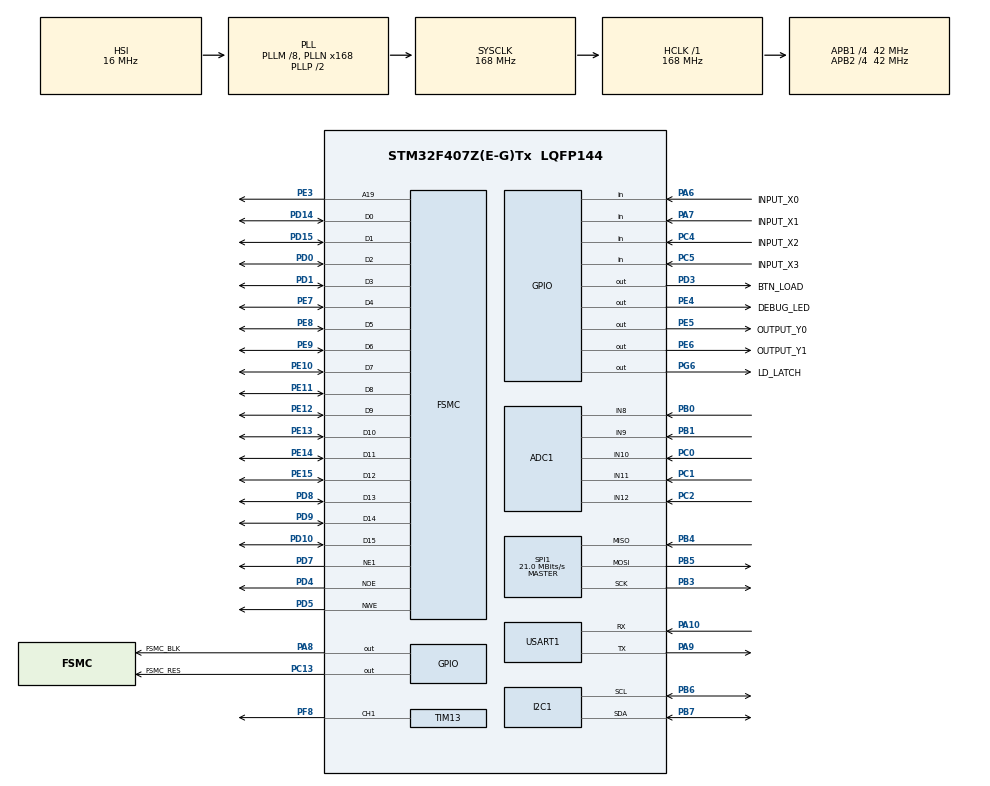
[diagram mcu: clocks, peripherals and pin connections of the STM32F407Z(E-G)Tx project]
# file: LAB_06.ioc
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ADC1.Channel-0\#ChannelRegularConversion=ADC_CHANNEL_8
ADC1.Channel-1\#ChannelRegularConversion=ADC_CHANNEL_9
ADC1.Channel-2\#ChannelRegularConversion=ADC_CHANNEL_10
ADC1.Channel-3\#ChannelRegularConversion=ADC_CHANNEL_11
ADC1.Channel-4\#ChannelRegularConversion=ADC_CHANNEL_12
ADC1.NbrOfConversion=5
ADC1.NbrOfConversionFlag=1
ADC1.Rank-0\#ChannelRegularConversion=1
ADC1.Rank-1\#ChannelRegularConversion=2
ADC1.Rank-2\#ChannelRegularConversion=3
ADC1.Rank-3\#ChannelRegularConversion=4
ADC1.Rank-4\#ChannelRegularConversion=5
ADC1.SamplingTime-0\#ChannelRegularConversion=ADC_SAMPLETIME_3CYCLES
ADC1.SamplingTime-1\#ChannelRegularConversion=ADC_SAMPLETIME_3CYCLES
ADC1.SamplingTime-2\#ChannelRegularConversion=ADC_SAMPLETIME_3CYCLES
ADC1.SamplingTime-3\#ChannelRegularConversion=ADC_SAMPLETIME_3CYCLES
ADC1.SamplingTime-4\#ChannelRegularConversion=ADC_SAMPLETIME_3CYCLES
ADC1.ScanConvMode=ENABLE
ADC1.master=1
Dma.ADC1.0.Direction=DMA_PERIPH_TO_MEMORY
Dma.ADC1.0.FIFOMode=DMA_FIFOMODE_DISABLE
Dma.ADC1.0.Instance=DMA2_Stream0
Dma.ADC1.0.MemDataAlignment=DMA_MDATAALIGN_HALFWORD
Dma.ADC1.0.MemInc=DMA_MINC_ENABLE
Dma.ADC1.0.Mode=DMA_CIRCULAR
Dma.ADC1.0.PeriphDataAlignment=DMA_PDATAALIGN_HALFWORD
Dma.ADC1.0.PeriphInc=DMA_PINC_DISABLE
Dma.ADC1.0.Priority=DMA_PRIORITY_LOW
Dma.Request0=ADC1
FSMC.AddressSetupTime1=0xf
FSMC.BusTurnAroundDuration1=0
FSMC.DataSetupTime1=60
FSMC.ExtendedAddressSetupTime1=8
FSMC.ExtendedBusTurnAroundDuration1=0
FSMC.ExtendedDataSetupTime1=9
FSMC.ExtendedMode1=FSMC_EXTENDED_MODE_ENABLE
Mcu.Family=STM32F4
Mcu.Name=STM32F407Z(E-G)Tx
Mcu.Package=LQFP144
NVIC.DMA2_Stream0_IRQn=true\:0\:0\:false\:false\:true\:false\:true
NVIC.PriorityGroup=NVIC_PRIORITYGROUP_4
NVIC.TIM2_IRQn=true\:0\:0\:false\:false\:true\:true\:true
NVIC.USART1_IRQn=true\:0\:0\:false\:false\:true\:true\:true
PA10.Mode=Asynchronous
PA10.Signal=USART1_RX
PA13.Mode=Serial_Wire
PA13.Signal=SYS_JTMS-SWDIO
PA14.Mode=Serial_Wire
PA14.Signal=SYS_JTCK-SWCLK
PA6.GPIO_Label=INPUT_X0
PA6.Signal=GPIO_Input
PA7.GPIO_Label=INPUT_X1
PA7.Signal=GPIO_Input
PA8.GPIO_Label=FSMC_BLK
PA8.Signal=GPIO_Output
PA9.Mode=Asynchronous
PA9.Signal=USART1_TX
PB0.Signal=ADCx_IN8
PB1.Signal=ADCx_IN9
PB3.Mode=Full_Duplex_Master
PB3.Signal=SPI1_SCK
PB4.Mode=Full_Duplex_Master
PB4.Signal=SPI1_MISO
PB5.Mode=Full_Duplex_Master
PB5.Signal=SPI1_MOSI
PB6.Mode=I2C
PB6.Signal=I2C1_SCL
PB7.Mode=I2C
PB7.Signal=I2C1_SDA
PC0.Signal=ADCx_IN10
PC1.Signal=ADCx_IN11
PC13-ANTI_TAMP.GPIO_Label=FSMC_RES
PC13-ANTI_TAMP.Signal=GPIO_Output
PC2.Signal=ADCx_IN12
PC4.GPIO_Label=INPUT_X2
PC4.Signal=GPIO_Input
PC5.GPIO_Label=INPUT_X3
PC5.Signal=GPIO_Input
PD0.Signal=FSMC_D2_DA2
PD1.Signal=FSMC_D3_DA3
PD10.Signal=FSMC_D15_DA15
PD14.Signal=FSMC_D0_DA0
PD15.Signal=FSMC_D1_DA1
PD3.GPIO_Label=BTN_LOAD
PD3.Signal=GPIO_Output
PD4.Signal=FSMC_NOE
PD5.Signal=FSMC_NWE
PD7.Mode=NorPsramChipSelect1_1
PD7.Signal=FSMC_NE1
PD8.Signal=FSMC_D13_DA13
PD9.Signal=FSMC_D14_DA14
PE10.Signal=FSMC_D7_DA7
PE11.Signal=FSMC_D8_DA8
PE12.Signal=FSMC_D9_DA9
PE13.Signal=FSMC_D10_DA10
PE14.Signal=FSMC_D11_DA11
PE15.Signal=FSMC_D12_DA12
PE3.Signal=FSMC_A19
PE4.GPIO_Label=DEBUG_LED
PE4.Signal=GPIO_Output
PE5.GPIO_Label=OUTPUT_Y0
PE5.Signal=GPIO_Output
PE6.GPIO_Label=OUTPUT_Y1
PE6.Signal=GPIO_Output
PE7.Signal=FSMC_D4_DA4
PE8.Signal=FSMC_D5_DA5
PE9.Signal=FSMC_D6_DA6
PF8.Signal=S_TIM13_CH1
PG6.GPIO_Label=LD_LATCH
PG6.Signal=GPIO_Output
PH0-OSC_IN.Mode=HSE-External-Oscillator
PH0-OSC_IN.Signal=RCC_OSC_IN
PH1-OSC_OUT.Mode=HSE-External-Oscillator
PH1-OSC_OUT.Signal=RCC_OSC_OUT
ProjectManager.HeapSize=0x200
ProjectManager.StackSize=0x400
ProjectManager.TargetToolchain=STM32CubeIDE
RCC.48MHZClocksFreq_Value=84000000
RCC.AHBFreq_Value=168000000
RCC.APB1CLKDivider=RCC_HCLK_DIV4
RCC.APB1Freq_Value=42000000
RCC.APB1TimFreq_Value=84000000
RCC.APB2CLKDivider=RCC_HCLK_DIV4
RCC.APB2Freq_Value=42000000
RCC.APB2TimFreq_Value=84000000
RCC.CortexFreq_Value=168000000
RCC.HCLKFreq_Value=168000000
RCC.HSE_VALUE=8000000
RCC.HSI_VALUE=16000000
RCC.LSE_VALUE=32768
RCC.PLLM=8
RCC.PLLN=168
RCC.SYSCLKFreq_VALUE=168000000
RCC.SYSCLKSource=RCC_SYSCLKSOURCE_PLLCLK
RCC.VCOOutputFreq_Value=336000000
SH.ADCx_IN10.0=ADC1_IN10,IN10
SH.ADCx_IN11.0=ADC1_IN11,IN11
SH.ADCx_IN12.0=ADC1_IN12,IN12
SH.ADCx_IN8.0=ADC1_IN8,IN8
SH.ADCx_IN9.0=ADC1_IN9,IN9
SH.FSMC_A19.0=FSMC_A19,A19_1
SH.FSMC_D0_DA0.0=FSMC_D0,16b-d1
SH.FSMC_D10_DA10.0=FSMC_D10,16b-d1
SH.FSMC_D11_DA11.0=FSMC_D11,16b-d1
SH.FSMC_D12_DA12.0=FSMC_D12,16b-d1
SH.FSMC_D13_DA13.0=FSMC_D13,16b-d1
SH.FSMC_D14_DA14.0=FSMC_D14,16b-d1
SH.FSMC_D15_DA15.0=FSMC_D15,16b-d1
SH.FSMC_D1_DA1.0=FSMC_D1,16b-d1
SH.FSMC_D2_DA2.0=FSMC_D2,16b-d1
SH.FSMC_D3_DA3.0=FSMC_D3,16b-d1
SH.FSMC_D4_DA4.0=FSMC_D4,16b-d1
SH.FSMC_D5_DA5.0=FSMC_D5,16b-d1
SH.FSMC_D6_DA6.0=FSMC_D6,16b-d1
SH.FSMC_D7_DA7.0=FSMC_D7,16b-d1
SH.FSMC_D8_DA8.0=FSMC_D8,16b-d1
SH.FSMC_D9_DA9.0=FSMC_D9,16b-d1
SH.FSMC_NOE.0=FSMC_NOE,Lcd1
SH.FSMC_NWE.0=FSMC_NWE,Lcd1
SH.S_TIM13_CH1.0=TIM13_CH1,PWM Generation1 CH1
SPI1.CalculateBaudRate=21.0 MBits/s
SPI1.Direction=SPI_DIRECTION_2LINES
SPI1.Mode=SPI_MODE_MASTER
SPI1.VirtualType=VM_MASTER
TIM13.Channel=TIM_CHANNEL_1
TIM13.Period=100-1
TIM13.Prescaler=840-1
TIM2.Period=100-1
TIM2.Prescaler=840-1
USART1.VirtualMode=VM_ASYNC
VP_TIM13_VS_ClockSourceINT.Mode=Enable_Timer
VP_TIM2_VS_ClockSourceINT.Mode=Internal
board=custom

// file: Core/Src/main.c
/* USER CODE BEGIN Header */
/**
  ******************************************************************************
  * @file           : main.c
  * @brief          : Main program body
  ******************************************************************************
  * @attention
  *
  * <h2><center>&copy; Copyright (c) 2025 STMicroelectronics.
  * All rights reserved.</center></h2>
  *
  * This software component is licensed by ST under BSD 3-Clause license,
  * the "License"; You may not use this file except in compliance with the
  * License. You may obtain a copy of the License at:
  *                        opensource.org/licenses/BSD-3-Clause
  *
  ******************************************************************************
  */
/* USER CODE END Header */
#include "main.h"

/* USER CODE BEGIN Includes */
#include "software_timer.h"
#include "led_7seg.h"
#include "button.h"
#include "lcd.h"
#include "picture.h"
#include "ds3231.h"
#include "sensor.h"
#include "buzzer.h"
#include "uart.h"
/* USER CODE END Includes */

/* USER CODE BEGIN PD */
#define MAX_SAMPLES 20
#define CHART_X 10
#define CHART_Y 150
#define CHART_WIDTH 220
#define CHART_HEIGHT 130
/* USER CODE END PD */

ADC_HandleTypeDef hadc1;
DMA_HandleTypeDef hdma_adc1;

I2C_HandleTypeDef hi2c1;

SPI_HandleTypeDef hspi1;

TIM_HandleTypeDef htim2;
TIM_HandleTypeDef htim13;

UART_HandleTypeDef huart1;

SRAM_HandleTypeDef hsram1;

void SystemClock_Config(void);
static void MX_GPIO_Init(void);
static void MX_SPI1_Init(void);
static void MX_TIM2_Init(void);
static void MX_FSMC_Init(void);
static void MX_DMA_Init(void);
static void MX_ADC1_Init(void);
static void MX_I2C1_Init(void);
static void MX_TIM13_Init(void);
static void MX_USART1_UART_Init(void);
/* USER CODE BEGIN PFP */
void system_init();
void test_LedDebug();
void test_Buzzer();
void test_Adc();
void displayTimeOn7Seg();
void drawPowerChart();
/* USER CODE END PFP */

int main(void)
{

  /* MCU Configuration--------------------------------------------------------*/

  /* Reset of all peripherals, Initializes the Flash interface and the Systick. */
  HAL_Init();

  /* Configure the system clock */
  SystemClock_Config();

  /* Initialize all configured peripherals */
  MX_GPIO_Init();
  MX_SPI1_Init();
  MX_TIM2_Init();
  MX_FSMC_Init();
  MX_DMA_Init();
  MX_ADC1_Init();
  MX_I2C1_Init();
  MX_TIM13_Init();
  MX_USART1_UART_Init();
  /* USER CODE BEGIN 2 */
  system_init();
  /* USER CODE END 2 */

  /* Infinite loop */
  /* USER CODE BEGIN WHILE */
  lcd_Clear(BLACK);
  lcd_ShowStr(60, 10, "Environment Monitor", WHITE, BLACK, 16, 0);
  while (1)
  {
	  while(!flag_timer2);
	  flag_timer2 = 0;
	  button_Scan();
	  led7_Scan();
	  test_LedDebug();

	  // ===== Bai tap 1: Environmental Monitoring =====
	  displayTimeOn7Seg();
	  test_Adc();
	  test_Buzzer();

	  // ===== Bai tap 2: Power Chart (15s sampling) =====
	  drawPowerChart();
    /* USER CODE END WHILE */

  }
}

void SystemClock_Config(void)
{
  RCC_OscInitTypeDef RCC_OscInitStruct = {0};
  RCC_ClkInitTypeDef RCC_ClkInitStruct = {0};

  /** Configure the main internal regulator output voltage
  */
  __HAL_RCC_PWR_CLK_ENABLE();
  __HAL_PWR_VOLTAGESCALING_CONFIG(PWR_REGULATOR_VOLTAGE_SCALE1);
  /** Initializes the RCC Oscillators according to the specified parameters
  * in the RCC_OscInitTypeDef structure.
  */
  RCC_OscInitStruct.OscillatorType = RCC_OSCILLATORTYPE_HSI;
  RCC_OscInitStruct.HSIState = RCC_HSI_ON;
  RCC_OscInitStruct.HSICalibrationValue = RCC_HSICALIBRATION_DEFAULT;
  RCC_OscInitStruct.PLL.PLLState = RCC_PLL_ON;
  RCC_OscInitStruct.PLL.PLLSource = RCC_PLLSOURCE_HSI;
  RCC_OscInitStruct.PLL.PLLM = 8;
  RCC_OscInitStruct.PLL.PLLN = 168;
  RCC_OscInitStruct.PLL.PLLP = RCC_PLLP_DIV2;
  RCC_OscInitStruct.PLL.PLLQ = 4;
  if (HAL_RCC_OscConfig(&RCC_OscInitStruct) != HAL_OK)
  {
    Error_Handler();
  }
  /** Initializes the CPU, AHB and APB buses clocks
  */
  RCC_ClkInitStruct.ClockType = RCC_CLOCKTYPE_HCLK|RCC_CLOCKTYPE_SYSCLK
                              |RCC_CLOCKTYPE_PCLK1|RCC_CLOCKTYPE_PCLK2;
  RCC_ClkInitStruct.SYSCLKSource = RCC_SYSCLKSOURCE_PLLCLK;
  RCC_ClkInitStruct.AHBCLKDivider = RCC_SYSCLK_DIV1;
  RCC_ClkInitStruct.APB1CLKDivider = RCC_HCLK_DIV4;
  RCC_ClkInitStruct.APB2CLKDivider = RCC_HCLK_DIV4;

  if (HAL_RCC_ClockConfig(&RCC_ClkInitStruct, FLASH_LATENCY_5) != HAL_OK)
  {
    Error_Handler();
  }
}

static void MX_ADC1_Init(void)
{

  ADC_ChannelConfTypeDef sConfig = {0};

  /** Configure the global features of the ADC (Clock, Resolution, Data Alignment and number of conversion)
  */
  hadc1.Instance = ADC1;
  hadc1.Init.ClockPrescaler = ADC_CLOCK_SYNC_PCLK_DIV2;
  hadc1.Init.Resolution = ADC_RESOLUTION_12B;
  hadc1.Init.ScanConvMode = ENABLE;
  hadc1.Init.ContinuousConvMode = DISABLE;
  hadc1.Init.DiscontinuousConvMode = DISABLE;
  hadc1.Init.ExternalTrigConvEdge = ADC_EXTERNALTRIGCONVEDGE_NONE;
  hadc1.Init.ExternalTrigConv = ADC_SOFTWARE_START;
  hadc1.Init.DataAlign = ADC_DATAALIGN_RIGHT;
  hadc1.Init.NbrOfConversion = 5;
  hadc1.Init.DMAContinuousRequests = DISABLE;
  hadc1.Init.EOCSelection = ADC_EOC_SINGLE_CONV;
  if (HAL_ADC_Init(&hadc1) != HAL_OK)
  {
    Error_Handler();
  }
  /** Configure for the selected ADC regular channel its corresponding rank in the sequencer and its sample time.
  */
  sConfig.Channel = ADC_CHANNEL_8;
  sConfig.Rank = 1;
  sConfig.SamplingTime = ADC_SAMPLETIME_3CYCLES;
  if (HAL_ADC_ConfigChannel(&hadc1, &sConfig) != HAL_OK)
  {
    Error_Handler();
  }
  /** Configure for the selected ADC regular channel its corresponding rank in the sequencer and its sample time.
  */
  sConfig.Channel = ADC_CHANNEL_9;
  sConfig.Rank = 2;
  if (HAL_ADC_ConfigChannel(&hadc1, &sConfig) != HAL_OK)
  {
    Error_Handler();
  }
  /** Configure for the selected ADC regular channel its corresponding rank in the sequencer and its sample time.
  */
  sConfig.Channel = ADC_CHANNEL_10;
  sConfig.Rank = 3;
  if (HAL_ADC_ConfigChannel(&hadc1, &sConfig) != HAL_OK)
  {
    Error_Handler();
  }
  /** Configure for the selected ADC regular channel its corresponding rank in the sequencer and its sample time.
  */
  sConfig.Channel = ADC_CHANNEL_11;
  sConfig.Rank = 4;
  if (HAL_ADC_ConfigChannel(&hadc1, &sConfig) != HAL_OK)
  {
    Error_Handler();
  }
  /** Configure for the selected ADC regular channel its corresponding rank in the sequencer and its sample time.
  */
  sConfig.Channel = ADC_CHANNEL_12;
  sConfig.Rank = 5;
  if (HAL_ADC_ConfigChannel(&hadc1, &sConfig) != HAL_OK)
  {
    Error_Handler();
  }

}

static void MX_I2C1_Init(void)
{

  hi2c1.Instance = I2C1;
  hi2c1.Init.ClockSpeed = 100000;
  hi2c1.Init.DutyCycle = I2C_DUTYCYCLE_2;
  hi2c1.Init.OwnAddress1 = 0;
  hi2c1.Init.AddressingMode = I2C_ADDRESSINGMODE_7BIT;
  hi2c1.Init.DualAddressMode = I2C_DUALADDRESS_DISABLE;
  hi2c1.Init.OwnAddress2 = 0;
  hi2c1.Init.GeneralCallMode = I2C_GENERALCALL_DISABLE;
  hi2c1.Init.NoStretchMode = I2C_NOSTRETCH_DISABLE;
  if (HAL_I2C_Init(&hi2c1) != HAL_OK)
  {
    Error_Handler();
  }

}

static void MX_SPI1_Init(void)
{

  /* SPI1 parameter configuration*/
  hspi1.Instance = SPI1;
  hspi1.Init.Mode = SPI_MODE_MASTER;
  hspi1.Init.Direction = SPI_DIRECTION_2LINES;
  hspi1.Init.DataSize = SPI_DATASIZE_8BIT;
  hspi1.Init.CLKPolarity = SPI_POLARITY_LOW;
  hspi1.Init.CLKPhase = SPI_PHASE_1EDGE;
  hspi1.Init.NSS = SPI_NSS_SOFT;
  hspi1.Init.BaudRatePrescaler = SPI_BAUDRATEPRESCALER_2;
  hspi1.Init.FirstBit = SPI_FIRSTBIT_MSB;
  hspi1.Init.TIMode = SPI_TIMODE_DISABLE;
  hspi1.Init.CRCCalculation = SPI_CRCCALCULATION_DISABLE;
  hspi1.Init.CRCPolynomial = 10;
  if (HAL_SPI_Init(&hspi1) != HAL_OK)
  {
    Error_Handler();
  }

}

static void MX_TIM2_Init(void)
{

  TIM_ClockConfigTypeDef sClockSourceConfig = {0};
  TIM_MasterConfigTypeDef sMasterConfig = {0};

  htim2.Instance = TIM2;
  htim2.Init.Prescaler = 840-1;
  htim2.Init.CounterMode = TIM_COUNTERMODE_UP;
  htim2.Init.Period = 100-1;
  htim2.Init.ClockDivision = TIM_CLOCKDIVISION_DIV1;
  htim2.Init.AutoReloadPreload = TIM_AUTORELOAD_PRELOAD_DISABLE;
  if (HAL_TIM_Base_Init(&htim2) != HAL_OK)
  {
    Error_Handler();
  }
  sClockSourceConfig.ClockSource = TIM_CLOCKSOURCE_INTERNAL;
  if (HAL_TIM_ConfigClockSource(&htim2, &sClockSourceConfig) != HAL_OK)
  {
    Error_Handler();
  }
  sMasterConfig.MasterOutputTrigger = TIM_TRGO_RESET;
  sMasterConfig.MasterSlaveMode = TIM_MASTERSLAVEMODE_DISABLE;
  if (HAL_TIMEx_MasterConfigSynchronization(&htim2, &sMasterConfig) != HAL_OK)
  {
    Error_Handler();
  }

}

static void MX_TIM13_Init(void)
{

  TIM_OC_InitTypeDef sConfigOC = {0};

  htim13.Instance = TIM13;
  htim13.Init.Prescaler = 840-1;
  htim13.Init.CounterMode = TIM_COUNTERMODE_UP;
  htim13.Init.Period = 100-1;
  htim13.Init.ClockDivision = TIM_CLOCKDIVISION_DIV1;
  htim13.Init.AutoReloadPreload = TIM_AUTORELOAD_PRELOAD_DISABLE;
  if (HAL_TIM_Base_Init(&htim13) != HAL_OK)
  {
    Error_Handler();
  }
  if (HAL_TIM_PWM_Init(&htim13) != HAL_OK)
  {
    Error_Handler();
  }
  sConfigOC.OCMode = TIM_OCMODE_PWM1;
  sConfigOC.Pulse = 0;
  sConfigOC.OCPolarity = TIM_OCPOLARITY_HIGH;
  sConfigOC.OCFastMode = TIM_OCFAST_DISABLE;
  if (HAL_TIM_PWM_ConfigChannel(&htim13, &sConfigOC, TIM_CHANNEL_1) != HAL_OK)
  {
    Error_Handler();
  }
  HAL_TIM_MspPostInit(&htim13);

}

static void MX_USART1_UART_Init(void)
{

  huart1.Instance = USART1;
  huart1.Init.BaudRate = 115200;
  huart1.Init.WordLength = UART_WORDLENGTH_8B;
  huart1.Init.StopBits = UART_STOPBITS_1;
  huart1.Init.Parity = UART_PARITY_NONE;
  huart1.Init.Mode = UART_MODE_TX_RX;
  huart1.Init.HwFlowCtl = UART_HWCONTROL_NONE;
  huart1.Init.OverSampling = UART_OVERSAMPLING_16;
  if (HAL_UART_Init(&huart1) != HAL_OK)
  {
    Error_Handler();
  }

}

static void MX_DMA_Init(void)
{

  /* DMA controller clock enable */
  __HAL_RCC_DMA2_CLK_ENABLE();

  /* DMA interrupt init */
  /* DMA2_Stream0_IRQn interrupt configuration */
  HAL_NVIC_SetPriority(DMA2_Stream0_IRQn, 0, 0);
  HAL_NVIC_EnableIRQ(DMA2_Stream0_IRQn);

}

static void MX_GPIO_Init(void)
{
  GPIO_InitTypeDef GPIO_InitStruct = {0};

  /* GPIO Ports Clock Enable */
  __HAL_RCC_GPIOE_CLK_ENABLE();
  __HAL_RCC_GPIOC_CLK_ENABLE();
  __HAL_RCC_GPIOF_CLK_ENABLE();
  __HAL_RCC_GPIOH_CLK_ENABLE();
  __HAL_RCC_GPIOA_CLK_ENABLE();
  __HAL_RCC_GPIOB_CLK_ENABLE();
  __HAL_RCC_GPIOD_CLK_ENABLE();
  __HAL_RCC_GPIOG_CLK_ENABLE();

  /*Configure GPIO pin Output Level */
  HAL_GPIO_WritePin(GPIOE, DEBUG_LED_Pin|OUTPUT_Y0_Pin|OUTPUT_Y1_Pin, GPIO_PIN_RESET);

  /*Configure GPIO pin Output Level */
  HAL_GPIO_WritePin(FSMC_RES_GPIO_Port, FSMC_RES_Pin, GPIO_PIN_RESET);

  /*Configure GPIO pin Output Level */
  HAL_GPIO_WritePin(LD_LATCH_GPIO_Port, LD_LATCH_Pin, GPIO_PIN_RESET);

  /*Configure GPIO pin Output Level */
  HAL_GPIO_WritePin(FSMC_BLK_GPIO_Port, FSMC_BLK_Pin, GPIO_PIN_RESET);

  /*Configure GPIO pin Output Level */
  HAL_GPIO_WritePin(BTN_LOAD_GPIO_Port, BTN_LOAD_Pin, GPIO_PIN_RESET);

  /*Configure GPIO pins : DEBUG_LED_Pin OUTPUT_Y0_Pin OUTPUT_Y1_Pin */
  GPIO_InitStruct.Pin = DEBUG_LED_Pin|OUTPUT_Y0_Pin|OUTPUT_Y1_Pin;
  GPIO_InitStruct.Mode = GPIO_MODE_OUTPUT_PP;
  GPIO_InitStruct.Pull = GPIO_NOPULL;
  GPIO_InitStruct.Speed = GPIO_SPEED_FREQ_LOW;
  HAL_GPIO_Init(GPIOE, &GPIO_InitStruct);

  /*Configure GPIO pin : FSMC_RES_Pin */
  GPIO_InitStruct.Pin = FSMC_RES_Pin;
  GPIO_InitStruct.Mode = GPIO_MODE_OUTPUT_PP;
  GPIO_InitStruct.Pull = GPIO_NOPULL;
  GPIO_InitStruct.Speed = GPIO_SPEED_FREQ_LOW;
  HAL_GPIO_Init(FSMC_RES_GPIO_Port, &GPIO_InitStruct);

  /*Configure GPIO pins : INPUT_X0_Pin INPUT_X1_Pin */
  GPIO_InitStruct.Pin = INPUT_X0_Pin|INPUT_X1_Pin;
  GPIO_InitStruct.Mode = GPIO_MODE_INPUT;
  GPIO_InitStruct.Pull = GPIO_NOPULL;
  HAL_GPIO_Init(GPIOA, &GPIO_InitStruct);

  /*Configure GPIO pins : INPUT_X2_Pin INPUT_X3_Pin */
  GPIO_InitStruct.Pin = INPUT_X2_Pin|INPUT_X3_Pin;
  GPIO_InitStruct.Mode = GPIO_MODE_INPUT;
  GPIO_InitStruct.Pull = GPIO_NOPULL;
  HAL_GPIO_Init(GPIOC, &GPIO_InitStruct);

  /*Configure GPIO pin : LD_LATCH_Pin */
  GPIO_InitStruct.Pin = LD_LATCH_Pin;
  GPIO_InitStruct.Mode = GPIO_MODE_OUTPUT_PP;
  GPIO_InitStruct.Pull = GPIO_NOPULL;
  GPIO_InitStruct.Speed = GPIO_SPEED_FREQ_LOW;
  HAL_GPIO_Init(LD_LATCH_GPIO_Port, &GPIO_InitStruct);

  /*Configure GPIO pin : FSMC_BLK_Pin */
  GPIO_InitStruct.Pin = FSMC_BLK_Pin;
  GPIO_InitStruct.Mode = GPIO_MODE_OUTPUT_PP;
  GPIO_InitStruct.Pull = GPIO_NOPULL;
  GPIO_InitStruct.Speed = GPIO_SPEED_FREQ_LOW;
  HAL_GPIO_Init(FSMC_BLK_GPIO_Port, &GPIO_InitStruct);

  /*Configure GPIO pin : BTN_LOAD_Pin */
  GPIO_InitStruct.Pin = BTN_LOAD_Pin;
  GPIO_InitStruct.Mode = GPIO_MODE_OUTPUT_PP;
  GPIO_InitStruct.Pull = GPIO_NOPULL;
  GPIO_InitStruct.Speed = GPIO_SPEED_FREQ_LOW;
  HAL_GPIO_Init(BTN_LOAD_GPIO_Port, &GPIO_InitStruct);

}

/* FSMC initialization function */
static void MX_FSMC_Init(void)
{

  FSMC_NORSRAM_TimingTypeDef Timing = {0};
  FSMC_NORSRAM_TimingTypeDef ExtTiming = {0};

  /** Perform the SRAM1 memory initialization sequence
  */
  hsram1.Instance = FSMC_NORSRAM_DEVICE;
  hsram1.Extended = FSMC_NORSRAM_EXTENDED_DEVICE;
  /* hsram1.Init */
  hsram1.Init.NSBank = FSMC_NORSRAM_BANK1;
  hsram1.Init.DataAddressMux = FSMC_DATA_ADDRESS_MUX_DISABLE;
  hsram1.Init.MemoryType = FSMC_MEMORY_TYPE_SRAM;
  hsram1.Init.MemoryDataWidth = FSMC_NORSRAM_MEM_BUS_WIDTH_16;
  hsram1.Init.BurstAccessMode = FSMC_BURST_ACCESS_MODE_DISABLE;
  hsram1.Init.WaitSignalPolarity = FSMC_WAIT_SIGNAL_POLARITY_LOW;
  hsram1.Init.WrapMode = FSMC_WRAP_MODE_DISABLE;
  hsram1.Init.WaitSignalActive = FSMC_WAIT_TIMING_BEFORE_WS;
  hsram1.Init.WriteOperation = FSMC_WRITE_OPERATION_ENABLE;
  hsram1.Init.WaitSignal = FSMC_WAIT_SIGNAL_DISABLE;
  hsram1.Init.ExtendedMode = FSMC_EXTENDED_MODE_ENABLE;
  hsram1.Init.AsynchronousWait = FSMC_ASYNCHRONOUS_WAIT_DISABLE;
  hsram1.Init.WriteBurst = FSMC_WRITE_BURST_DISABLE;
  hsram1.Init.PageSize = FSMC_PAGE_SIZE_NONE;
  /* Timing */
  Timing.AddressSetupTime = 0xf;
  Timing.AddressHoldTime = 15;
  Timing.DataSetupTime = 60;
  Timing.BusTurnAroundDuration = 0;
  Timing.CLKDivision = 16;
  Timing.DataLatency = 17;
  Timing.AccessMode = FSMC_ACCESS_MODE_A;
  /* ExtTiming */
  ExtTiming.AddressSetupTime = 8;
  ExtTiming.AddressHoldTime = 15;
  ExtTiming.DataSetupTime = 9;
  ExtTiming.BusTurnAroundDuration = 0;
  ExtTiming.CLKDivision = 16;
  ExtTiming.DataLatency = 17;
  ExtTiming.AccessMode = FSMC_ACCESS_MODE_A;

  if (HAL_SRAM_Init(&hsram1, &Timing, &ExtTiming) != HAL_OK)
  {
    Error_Handler( );
  }

}

/* USER CODE BEGIN 4 */
void system_init(){
	  timer_init();
	  button_init();
	  lcd_init();
	  sensor_init();
	  ds3231_init();
	  uart_init_rs232();
	  buzzer_init();
	  setTimer2(50);
	  setTimer3(1000); // For 1s periodic tasks
	  setTimer4(15000); // For 15s sampling (Exercise 2)
}

uint8_t count_led_debug = 0;

void test_LedDebug(){
	count_led_debug = (count_led_debug + 1)%20;
	if(count_led_debug == 0){
		HAL_GPIO_TogglePin(DEBUG_LED_GPIO_Port, DEBUG_LED_Pin);
	}
}

uint8_t isButtonUp()
{
    if (button_count[3] == 1)
        return 1;
    else
        return 0;
}

uint8_t isButtonDown()
{
    if (button_count[7] == 1)
        return 1;
    else
        return 0;
}

uint8_t isButtonRight()
{
    if (button_count[11] == 1)
        return 1;
    else
        return 0;
}

uint8_t count_adc = 0;

// Calculate power consumption in mW
float getPowerConsumption() {
	return sensor_GetVoltage() * sensor_GetCurrent();
}

// Get humidity from potentiometer (0-100%)
float getHumidity() {
	uint16_t pot_value = sensor_GetPotentiometer();
	// Map ADC value (0-4095) to humidity (0-100%)
	return (pot_value * 100.0f) / 4095.0f;
}

// Classify light level
const char* getLightLevel() {
	uint16_t light = sensor_GetLight();
	// Threshold at 2000 (adjustable based on sensor)
	if (light > 2000) {
		return "Strong";
	} else {
		return "Weak";
	}
}

void test_Adc(){
	count_adc = (count_adc + 1)%20;
	if(count_adc == 0){
		sensor_Read();

		// Display environmental monitoring data
		float power = getPowerConsumption();
		float humidity = getHumidity();
		const char* light_level = getLightLevel();
		float temperature = sensor_GetTemperature();

		// Display on LCD
		lcd_ShowStr(10, 40, "Power:", RED, BLACK, 16, 0);
		lcd_ShowFloatNum(100, 40, power, 4, RED, BLACK, 16);
		lcd_ShowStr(180, 40, "mW", RED, BLACK, 16, 0);

		lcd_ShowStr(10, 60, "Light:", RED, BLACK, 16, 0);
		lcd_ShowStr(100, 60, "      ", BLACK, BLACK, 16, 0);
		lcd_ShowStr(100, 60, (uint8_t*)light_level, RED, BLACK, 16, 0);

		lcd_ShowStr(10, 80, "Temp:", RED, BLACK, 16, 0);
		lcd_ShowFloatNum(100, 80, temperature, 4, RED, BLACK, 16);
		lcd_ShowStr(180, 80, "C", RED, BLACK, 16, 0);

		lcd_ShowStr(10, 100, "Humidity:", RED, BLACK, 16, 0);
		lcd_ShowFloatNum(120, 100, humidity, 4, RED, BLACK, 16);
		lcd_ShowStr(180, 100, "%", RED, BLACK, 16, 0);

		// Check alarm condition
		if (humidity > 70.0f) {
			lcd_ShowStr(10, 120, "ALARM: High Humidity!", RED, BLACK, 16, 0);
		} else {
			lcd_ShowStr(10, 120, "                      ", BLACK, BLACK, 16, 0);
		}
	}
}

void displayTimeOn7Seg() {
	ds3231_ReadTime();
	// Display time in format HH:MM on 7-segment
	led7_SetDigit(ds3231_hours / 10, 0, 0);
	led7_SetDigit(ds3231_hours % 10, 1, 0);
	led7_SetColon(1);
	led7_SetDigit(ds3231_min / 10, 2, 0);
	led7_SetDigit(ds3231_min % 10, 3, 0);
}

void sendDataToPC() {
	float power = getPowerConsumption();
	float humidity = getHumidity();
	const char* light_level = getLightLevel();
	float temperature = sensor_GetTemperature();

	uart_Rs232SendString((uint8_t*)"\r\n=== Environmental Monitoring ===\r\n");
	uart_Rs232SendString((uint8_t*)"Power: ");
	uart_Rs232SendNumPercent((uint32_t)(power * 100));
	uart_Rs232SendString((uint8_t*)" mW\r\n");

	uart_Rs232SendString((uint8_t*)"Light: ");
	uart_Rs232SendString((uint8_t*)light_level);
	uart_Rs232SendString((uint8_t*)"\r\n");

	uart_Rs232SendString((uint8_t*)"Temperature: ");
	uart_Rs232SendNumPercent((uint32_t)(temperature * 100));
	uart_Rs232SendString((uint8_t*)" C\r\n");

	uart_Rs232SendString((uint8_t*)"Humidity: ");
	uart_Rs232SendNumPercent((uint32_t)(humidity * 100));
	uart_Rs232SendString((uint8_t*)" %\r\n");

	if (humidity > 70.0f) {
		uart_Rs232SendString((uint8_t*)"*** ALARM: Humidity exceeds 70% ***\r\n");
	}
}

void test_Buzzer(){
	float humidity = getHumidity();

	// Alarm system for high humidity
	if (humidity > 70.0f) {
		if (timer3_flag) {
			timer3_flag = 0;
			setTimer3(1000);

			// Toggle buzzer for alarm
			static uint8_t buzzer_state = 0;
			if (buzzer_state == 0) {
				buzzer_SetVolume(50);
				buzzer_state = 1;
			} else {
				buzzer_SetVolume(0);
				buzzer_state = 0;
			}

			// Send alarm message to PC
			sendDataToPC();
		}
	} else {
		// Normal operation - button control
		if(isButtonUp()){
			buzzer_SetVolume(50);
		}

		if(isButtonDown()){
			buzzer_SetVolume(0);
		}

		if(isButtonRight()){
			buzzer_SetVolume(25);
		}

		// Send data periodically when not in alarm
		if (timer3_flag) {
			timer3_flag = 0;
			setTimer3(1000);
			sendDataToPC();
		}
	}
}

// ============ Exercise 2: Power Consumption Chart ============
float power_samples[MAX_SAMPLES];
uint8_t sample_index = 0;
uint8_t total_samples = 0;

void drawPowerChart() {
	if (timer4_flag) {
		timer4_flag = 0;
		setTimer4(15000); // Reset 15s timer

		// Get new power sample
		float power = getPowerConsumption();
		power_samples[sample_index] = power;
		sample_index = (sample_index + 1) % MAX_SAMPLES;
		if (total_samples < MAX_SAMPLES) {
			total_samples++;
		}

		// Clear chart area
		lcd_Fill(CHART_X, CHART_Y, CHART_X + CHART_WIDTH, CHART_Y + CHART_HEIGHT, BLACK);

		// Draw border
		lcd_DrawRectangle(CHART_X, CHART_Y, CHART_X + CHART_WIDTH, CHART_Y + CHART_HEIGHT, WHITE);

		// Draw title
		lcd_ShowStr(CHART_X + 40, CHART_Y - 15, "Power Chart (mW)", CYAN, BLACK, 16, 0);

		if (total_samples > 1) {
			// Find min and max for scaling
			float max_power = power_samples[0];
			float min_power = power_samples[0];

			for (uint8_t i = 0; i < total_samples; i++) {
				uint8_t idx = (sample_index - total_samples + i + MAX_SAMPLES) % MAX_SAMPLES;
				if (power_samples[idx] > max_power) max_power = power_samples[idx];
				if (power_samples[idx] < min_power) min_power = power_samples[idx];
			}

			// Add some margin to scale
			float range = max_power - min_power;
			if (range < 0.1f) range = 0.1f; // Minimum range

			// Draw grid lines (horizontal)
			for (uint8_t i = 1; i < 5; i++) {
				uint16_t y = CHART_Y + (CHART_HEIGHT * i) / 5;
				for (uint16_t x = CHART_X; x <= CHART_X + CHART_WIDTH; x += 5) {
					lcd_DrawPoint(x, y, GRAY);
				}
			}

			// Draw data points and lines
			uint16_t x_step = CHART_WIDTH / (total_samples - 1);
			uint16_t prev_x = 0, prev_y = 0;

			for (uint8_t i = 0; i < total_samples; i++) {
				uint8_t idx = (sample_index - total_samples + i + MAX_SAMPLES) % MAX_SAMPLES;
				float normalized = (power_samples[idx] - min_power) / range;

				uint16_t x = CHART_X + (i * x_step);
				uint16_t y = CHART_Y + CHART_HEIGHT - (uint16_t)(normalized * (CHART_HEIGHT - 10));

				// Draw point
				lcd_Fill(x - 1, y - 1, x + 1, y + 1, GREEN);

				// Draw line from previous point
				if (i > 0) {
					lcd_DrawLine(prev_x, prev_y, x, y, YELLOW);
				}

				prev_x = x;
				prev_y = y;
			}

			// Display current value
			lcd_ShowStr(CHART_X, CHART_Y + CHART_HEIGHT + 5, "Current:", WHITE, BLACK, 16, 0);
			lcd_ShowFloatNum(CHART_X + 80, CHART_Y + CHART_HEIGHT + 5, power, 4, GREEN, BLACK, 16);
			lcd_ShowStr(CHART_X + 150, CHART_Y + CHART_HEIGHT + 5, "mW", WHITE, BLACK, 16, 0);
		}
	}
}
/* USER CODE END 4 */

void Error_Handler(void)
{
  __disable_irq();
  while (1)
  {
  }
}

/************************ (C) COPYRIGHT STMicroelectronics *****END OF FILE****/
